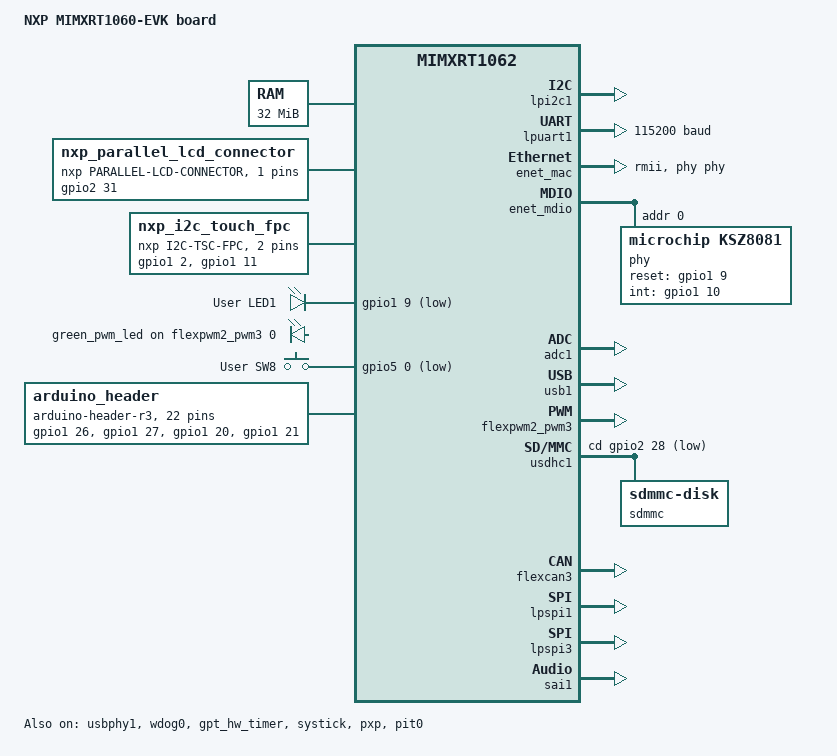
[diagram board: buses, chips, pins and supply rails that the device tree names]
/*
 * Copyright 2018,2024 NXP
 *
 * SPDX-License-Identifier: Apache-2.0
 */

/dts-v1/;

#include <nxp/nxp_rt1060.dtsi>
#include "mimxrt1060_evk-pinctrl.dtsi"
#include <zephyr/dt-bindings/input/input-event-codes.h>

/ {
	model = "NXP MIMXRT1060-EVK board";
	compatible = "nxp,mimxrt1062";

	aliases {
		led0 = &green_led;
		pwm-led0 = &green_pwm_led;
		sw0 = &user_button;
		watchdog0 = &wdog0;
		sdhc0 = &usdhc1;
	};

	chosen {
		zephyr,sram = &sdram0;
		zephyr,itcm = &itcm;
		zephyr,dtcm = &dtcm;
		zephyr,console = &lpuart1;
		zephyr,shell-uart = &lpuart1;
		zephyr,canbus = &flexcan3;
	};

	sdram0: memory@80000000 {
		/* Micron MT48LC16M16A2B4-6AIT:G */
		device_type = "memory";
		reg = <0x80000000 DT_SIZE_M(32)>;
	};

	/*
	 * This node describes the GPIO pins of the parallel FPC interface,
	 * This interface is standard to several NXP EVKs, and is used with
	 * several parallel LCD displays (available as zephyr shields)
	 */
	nxp_parallel_lcd_connector: parallel-connector {
		compatible = "nxp,parallel-lcd-connector";
		#gpio-cells = <2>;
		gpio-map-mask = <0xffffffff 0xffffffc0>;
		gpio-map-pass-thru = <0 0x3f>;
		gpio-map =	<0  0 &gpio2 31 0>;	/* Pin 1, BL+ */
	};

	/*
	 * This node describes the GPIO pins of the I2C display FPC interface,
	 * This interface is standard to several NXP EVKs, and is used with
	 * several parallel LCD displays (available as zephyr shields)
	 */
	nxp_i2c_touch_fpc: i2c-touch-connector {
		compatible = "nxp,i2c-tsc-fpc";
		#gpio-cells = <2>;
		gpio-map-mask = <0xffffffff 0xffffffc0>;
		gpio-map-pass-thru = <0 0x3f>;
		gpio-map =	<1  0 &gpio1 2 0>,	/* Pin 2, LCD touch RST */
				<2  0 &gpio1 11 0>;	/* Pin 3, LCD touch INT */
	};

	leds {
		compatible = "gpio-leds";
		green_led: led-1 {
			gpios = <&gpio1 9 GPIO_ACTIVE_LOW>;
			label = "User LED1";
		};
	};

	pwmleds {
		compatible = "pwm-leds";
		green_pwm_led: green_pwm_led {
			pwms = <&flexpwm2_pwm3 0 PWM_MSEC(20) PWM_POLARITY_NORMAL>;
		};
	};

	gpio_keys {
		compatible = "gpio-keys";
		user_button: button-1 {
			label = "User SW8";
			gpios = <&gpio5 0 (GPIO_PULL_UP | GPIO_ACTIVE_LOW)>;
			zephyr,code = <INPUT_KEY_0>;
		};
	};

	arduino_header: connector {
		compatible = "arduino-header-r3";
		#gpio-cells = <2>;
		gpio-map-mask = <0xffffffff 0xffffffc0>;
		gpio-map-pass-thru = <0 0x3f>;
		gpio-map = <0 0 &gpio1 26 0>,	/* A0 */
			   <1 0 &gpio1 27 0>,	/* A1 */
			   <2 0 &gpio1 20 0>,	/* A2 */
			   <3 0 &gpio1 21 0>,	/* A3 */
			   <4 0 &gpio1 17 0>,	/* A4 */
			   <5 0 &gpio1 16 0>,	/* A5 */
			   <6 0 &gpio1 23 0>,	/* D0 */
			   <7 0 &gpio1 22 0>,	/* D1 */
			   <8 0 &gpio1 11 0>,	/* D2 */
			   <9 0 &gpio1 24 0>,	/* D3 */
			   <10 0 &gpio1 9 0>,	/* D4 */
			   <11 0 &gpio1 10 0>,	/* D5 */
			   <12 0 &gpio1 18 0>,	/* D6 */
			   <13 0 &gpio1 19 0>,	/* D7 */
			   <14 0 &gpio1 3 0>,	/* D8 */
			   <15 0 &gpio1 2 0>,	/* D9 */
			   <16 0 &gpio3 13 0>,	/* D10 */
			   <17 0 &gpio3 14 0>,	/* D11 */
			   <18 0 &gpio3 15 0>,	/* D12 */
			   <19 0 &gpio3 12 0>,	/* D13 */
			   <20 0 &gpio1 17 0>,	/* D14 */
			   <21 0 &gpio1 16 0>;	/* D15 */
	};
};

arduino_serial: &lpuart3 {
	pinctrl-0 = <&pinmux_lpuart3>;
	pinctrl-1 = <&pinmux_lpuart3_flow_control>;
	pinctrl-2 = <&pinmux_lpuart3_sleep>;
	pinctrl-names = "default", "flowcontrol", "sleep";
};

zephyr_lcdif: &lcdif {
	pinctrl-0 = <&pinmux_lcdif>;
	pinctrl-names = "default";
};

nxp_touch_i2c: &lpi2c1 {};

arduino_i2c: &lpi2c1 {
	status = "okay";
	pinctrl-0 = <&pinmux_lpi2c1>;
	pinctrl-names = "default";
};

&lpuart1 {
	status = "okay";
	current-speed = <115200>;
	pinctrl-0 = <&pinmux_lpuart1>;
	pinctrl-1 = <&pinmux_lpuart1_sleep>;
	pinctrl-names = "default", "sleep";
};

&enet_mac {
	status = "okay";
	pinctrl-0 = <&pinmux_enet>;
	pinctrl-names = "default";
	phy-handle = <&phy>;
	zephyr,random-mac-address;
	phy-connection-type = "rmii";
};

&enet_mdio {
	status = "okay";
	pinctrl-0 = <&pinmux_enet_mdio>;
	pinctrl-names = "default";
	phy: phy@0 {
		compatible = "microchip,ksz8081";
		reg = <0>;
		status = "okay";
		reset-gpios = <&gpio1 9 GPIO_ACTIVE_HIGH>;
		int-gpios = <&gpio1 10 GPIO_ACTIVE_HIGH>;
		microchip,interface-type = "rmii";
	};
};

&enet_ptp_clock {
	status = "okay";
	pinctrl-0 = <&pinmux_ptp>;
	pinctrl-names = "default";
};

&adc1 {
	status = "okay";
	pinctrl-0 = <&pinmux_adc1>;
	pinctrl-names = "default";
};

zephyr_udc0: &usb1 {
	status = "okay";
	phy_handle = <&usbphy1>;
};

&usbphy1 {
	status = "okay";
	tx-d-cal = <12>;
	tx-cal-45-dp-ohms = <6>;
	tx-cal-45-dm-ohms = <6>;
};

&csi {
	pinctrl-0 = <&pinmux_csi>;
	pinctrl-names = "default";
};

&flexpwm2_pwm3 {
	status = "okay";
	pinctrl-0 = <&pinmux_flexpwm2_3>;
	pinctrl-names = "default";
};

&flexpwm1_pwm0 {
	pinctrl-0 = <&pinmux_flexpwm1_0>;
	pinctrl-names = "default";
};

&flexpwm1_pwm3 {
	pinctrl-0 = <&pinmux_flexpwm1>;
	pinctrl-names = "default";
};

&usdhc1 {
	status = "okay";
	power-delay-ms = <1000>;
	pwr-gpios = <&gpio1 5 GPIO_ACTIVE_HIGH>;
	cd-gpios = <&gpio2 28 GPIO_ACTIVE_LOW>;
	status = "okay";
	pinctrl-0 = <&pinmux_usdhc1>;
	pinctrl-1 = <&pinmux_usdhc1_slow>;
	pinctrl-2 = <&pinmux_usdhc1_med>;
	pinctrl-3 = <&pinmux_usdhc1_fast>;
	pinctrl-names = "default", "slow", "med", "fast";
	sdmmc {
		compatible = "zephyr,sdmmc-disk";
		status = "okay";
	};
};

&edma0 {
	status = "okay";
};

&flexcan3 {
	status = "okay";
	pinctrl-0 = <&pinmux_flexcan3>;
	pinctrl-names = "default";

	can-transceiver {
		max-bitrate = <5000000>;
	};
};

&wdog0 {
	status = "okay";
};

arduino_spi: &lpspi1 {
	status = "okay";
	/* DMA channels 0 and 1, muxed to LPSPI1 RX and TX */
	dmas = <&edma0 0 13>, <&edma0 1 14>;
	dma-names = "rx", "tx";
	pinctrl-0 = <&pinmux_lpspi1>;
	pinctrl-names = "default";
};

&lpspi3 {
	status = "okay";
	/* DMA channels 2 and 3, muxed to LPSPI3 RX and TX */
	dmas = <&edma0 2 15>, <&edma0 3 16>;
	dma-names = "rx", "tx";
	pinctrl-0 = <&pinmux_lpspi3>;
	pinctrl-names = "default";

};

&sai1 {
	status = "okay";
	pinctrl-0 = <&pinmux_sai1>;
	pinctrl-names = "default";
};

/* GPT and Systick are enabled. If power management is enabled, the GPT
 * timer will be used instead of systick, as allows the core clock to
 * be gated.
 */
&gpt_hw_timer {
	status = "okay";
};

&systick {
	status = "okay";
};

&iomuxcgpr {
	status = "okay";
};

&itm {
	pinctrl-0 = <&pinmux_swo>;
	pinctrl-names = "default";
};

&pxp {
	status = "okay";
};

&pit0 {
	status = "okay";
};

dvp_fpc24_i2c: &lpi2c1 {};

dvp_fpc24_interface: &csi {};
